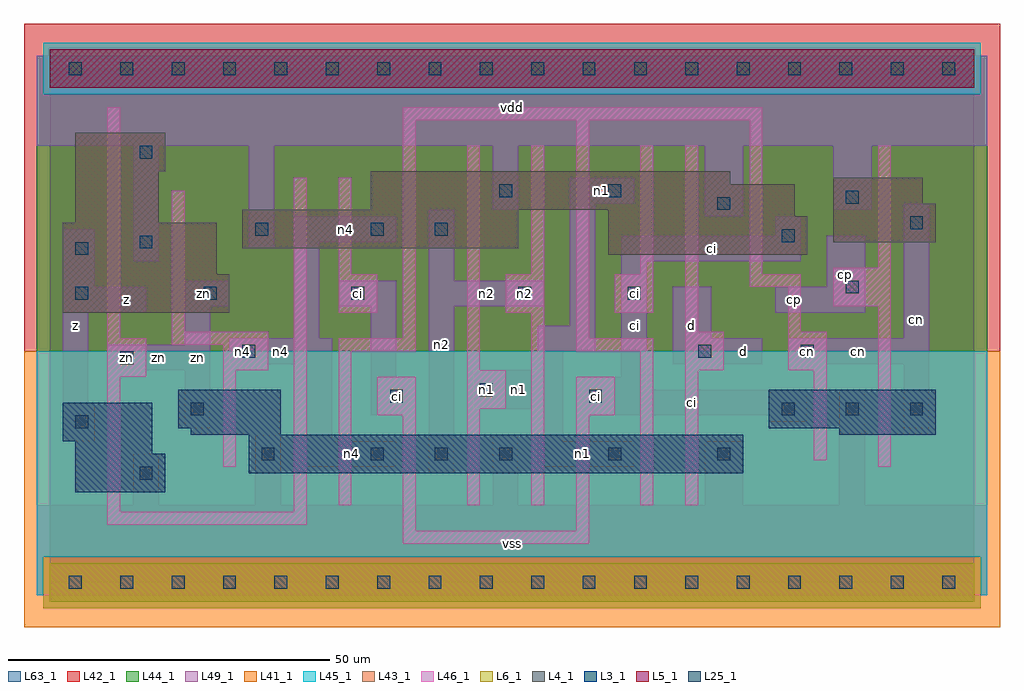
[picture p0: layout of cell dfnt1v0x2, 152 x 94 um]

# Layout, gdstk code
import gdstk
lib = gdstk.Library(unit=1e-6, precision=1e-09)
def R(c, l, rs):  # rectangles x0, y0, x1, y1
    for r in rs: c.add(gdstk.rectangle(r[:2], r[2:], *l))
def A(c, l, x, y, w, h, nx, ny, dx, dy):  # array of equal rectangles
    R(c, l, [(x+i*dx, y+j*dy, x+i*dx+w, y+j*dy+h) for i in range(nx) for j in range(ny)])
L3_1 = (3, 1)
L4_1 = (4, 1)
L5_1 = (5, 1)
L6_1 = (6, 1)
L25_1 = (25, 1)
L41_1 = (41, 1)
L42_1 = (42, 1)
L43_1 = (43, 1)
L44_1 = (44, 1)
L45_1 = (45, 1)
L46_1 = (46, 1)
L49_1 = (49, 1)
L63_1 = (63, 1)

dfnt1v0x2 = lib.new_cell('dfnt1v0x2')
R(dfnt1v0x2, L3_1, [(4,14,18,20), (31,17,108,23), (4,20,16,22), (2,22,16,28), (22,23,36,24), (123,23,138,24), (20,24,36,30), (112,24,138,30)])
R(dfnt1v0x2, L4_1, [(2,42,28,48), (2,48,26,56), (87,51,118,57), (30,52,73,58), (122,53,138,59), (4,56,17,64), (87,57,116,58), (50,58,116,62), (122,59,136,63), (50,62,106,64), (4,64,18,70)])
R(dfnt1v0x2, L5_1, [(0,77,144,83)])
R(dfnt1v0x2, L6_1, [(0,-3,144,3), (0,-3,144,3)])
A(dfnt1v0x2, L25_1, 3, -1, 2, 2, 18, 2, 8, 80)
A(dfnt1v0x2, L25_1, 50, 19, 2, 2, 3, 1, 10, 0)
A(dfnt1v0x2, L25_1, 114, 26, 2, 2, 3, 1, 10, 0)
R(dfnt1v0x2, L25_1, [(14,16,16,18), (33,19,35,21), (87,19,89,21), (104,19,106,21), (4,24,6,26), (22,26,24,28), (53,28,55,30), (84,28,86,30), (67,29,69,31), (11,34,13,36), (30,35,32,37), (101,35,103,37), (117,35,119,37), (4,44,6,46), (24,44,26,46), (47,44,49,46), (73,44,75,46), (90,44,92,46), (124,45,126,47), (4,51,6,53), (14,52,16,54), (114,53,116,55), (32,54,34,56), (50,54,52,56), (60,54,62,56), (134,55,136,57), (104,58,106,60), (124,59,126,61), (70,60,72,62), (87,60,89,62), (14,66,16,68)])
R(dfnt1v0x2, L41_1, [(-4,-7,148,36)])
R(dfnt1v0x2, L42_1, [(-4,36,148,87)])
R(dfnt1v0x2, L43_1, [(0,-3,144,3), (4,14,18,20), (31,17,108,23), (4,20,16,22), (2,22,16,28), (22,23,36,24), (123,23,138,24), (20,24,36,30), (112,24,138,30), (2,42,28,48), (2,48,26,56), (87,51,118,57), (30,52,73,58), (122,53,138,59), (4,56,17,64), (87,57,116,58), (50,58,116,62), (122,59,136,63), (50,62,106,64), (4,64,18,70), (0,77,144,83)])
R(dfnt1v0x2, L44_1, [(-1,-4,145,4), (-2,36,146,76), (-2,76,-1,82), (145,76,146,82)])
R(dfnt1v0x2, L45_1, [(-2,-2,-1,4), (145,-2,146,4), (-2,4,146,36), (-1,76,145,84)])
R(dfnt1v0x2, L46_1, [(55,6,84,8), (55,8,57,26), (82,8,84,26), (9,9,40,11), (9,11,11,32), (38,11,40,63), (45,12,47,36), (65,12,67,27), (75,12,77,42), (92,12,94,36), (99,12,101,33), (27,18,29,33), (129,18,131,43), (119,19,121,33), (51,26,57,32), (82,26,88,32), (65,27,71,33), (9,32,15,38), (27,33,34,37), (65,33,67,68), (99,33,105,39), (115,33,121,39), (45,36,57,38), (82,36,94,38), (19,37,34,39), (9,38,11,74), (55,38,57,72), (82,38,84,72), (19,39,21,61), (99,39,101,68), (115,39,117,46), (45,42,51,48), (71,42,77,48), (88,42,94,48), (122,43,131,49), (109,46,117,48), (45,48,47,63), (75,48,77,68), (92,48,94,68), (109,48,111,72), (129,49,131,68), (55,72,111,74)])
R(dfnt1v0x2, L49_1, [(-2,-2,146,12), (13,12,17,20), (32,12,36,23), (69,12,73,23), (102,12,108,22), (123,12,127,30), (59,17,63,43), (40,18,54,22), (76,18,91,22), (2,22,7,28), (40,22,44,34), (76,22,80,27), (21,24,25,33), (133,24,137,34), (112,25,118,26), (50,26,56,32), (83,26,118,30), (66,27,80,33), (2,28,6,42), (83,30,93,32), (50,32,54,43), (89,32,93,50), (9,33,25,37), (76,33,80,36), (28,34,44,38), (97,34,111,38), (115,34,137,38), (76,36,85,40), (21,37,25,43), (38,38,42,53), (97,38,103,46), (133,38,137,59), (81,40,85,59), (2,42,15,46), (113,42,127,46), (21,43,28,47), (45,43,54,47), (59,43,77,47), (2,46,7,55), (121,46,127,54), (59,47,63,58), (13,50,17,68), (89,50,117,54), (31,52,35,68), (38,53,54,57), (113,54,117,57), (102,57,108,68), (69,58,73,68), (122,58,128,68), (81,59,91,63), (-2,68,146,82)])
R(dfnt1v0x2, L63_1, [(0,0,144,80)])
dfnt1v0x2.add(gdstk.Label('zn', (12,35), layer=49, texttype=1))
dfnt1v0x2.add(gdstk.Label('n4', (30,36), layer=49, texttype=1))
dfnt1v0x2.add(gdstk.Label('ci', (54,29), layer=49, texttype=1))
dfnt1v0x2.add(gdstk.Label('ci', (48,45), layer=49, texttype=1))
dfnt1v0x2.add(gdstk.Label('n1', (68,30), layer=49, texttype=1))
dfnt1v0x2.add(gdstk.Label('ci', (85,29), layer=49, texttype=1))
dfnt1v0x2.add(gdstk.Label('ci', (91,45), layer=49, texttype=1))
dfnt1v0x2.add(gdstk.Label('n2', (74,45), layer=49, texttype=1))
dfnt1v0x2.add(gdstk.Label('cn', (118,36), layer=49, texttype=1))
dfnt1v0x2.add(gdstk.Label('zn', (23,35), layer=49, texttype=1))
dfnt1v0x2.add(gdstk.Label('zn', (17,35), layer=49, texttype=1))
dfnt1v0x2.add(gdstk.Label('z', (4,40), layer=49, texttype=1))
dfnt1v0x2.add(gdstk.Label('z', (12,44), layer=49, texttype=1))
dfnt1v0x2.add(gdstk.Label('n4', (47,20), layer=49, texttype=1))
dfnt1v0x2.add(gdstk.Label('ci', (53,29), layer=49, texttype=1))
dfnt1v0x2.add(gdstk.Label('n4', (36,36), layer=49, texttype=1))
dfnt1v0x2.add(gdstk.Label('zn', (24,45), layer=49, texttype=1))
dfnt1v0x2.add(gdstk.Label('ci', (49,45), layer=49, texttype=1))
dfnt1v0x2.add(gdstk.Label('n4', (46,55), layer=49, texttype=1))
dfnt1v0x2.add(gdstk.Label('vss', (72,6), layer=49, texttype=1))
dfnt1v0x2.add(gdstk.Label('n1', (73,30), layer=49, texttype=1))
dfnt1v0x2.add(gdstk.Label('n2', (68,45), layer=49, texttype=1))
dfnt1v0x2.add(gdstk.Label('n2', (61,37), layer=49, texttype=1))
dfnt1v0x2.add(gdstk.Label('vdd', (72,74), layer=49, texttype=1))
dfnt1v0x2.add(gdstk.Label('n1', (83,20), layer=49, texttype=1))
dfnt1v0x2.add(gdstk.Label('d', (108,36), layer=49, texttype=1))
dfnt1v0x2.add(gdstk.Label('d', (100,40), layer=49, texttype=1))
dfnt1v0x2.add(gdstk.Label('ci', (91,40), layer=49, texttype=1))
dfnt1v0x2.add(gdstk.Label('n1', (86,61), layer=49, texttype=1))
dfnt1v0x2.add(gdstk.Label('ci', (100,28), layer=49, texttype=1))
dfnt1v0x2.add(gdstk.Label('cp', (116,44), layer=49, texttype=1))
dfnt1v0x2.add(gdstk.Label('cn', (126,36), layer=49, texttype=1))
dfnt1v0x2.add(gdstk.Label('cp', (124,48), layer=49, texttype=1))
dfnt1v0x2.add(gdstk.Label('ci', (103,52), layer=49, texttype=1))
dfnt1v0x2.add(gdstk.Label('cn', (135,41), layer=49, texttype=1))

lib.write_gds('dfnt1v0x2.gds')
